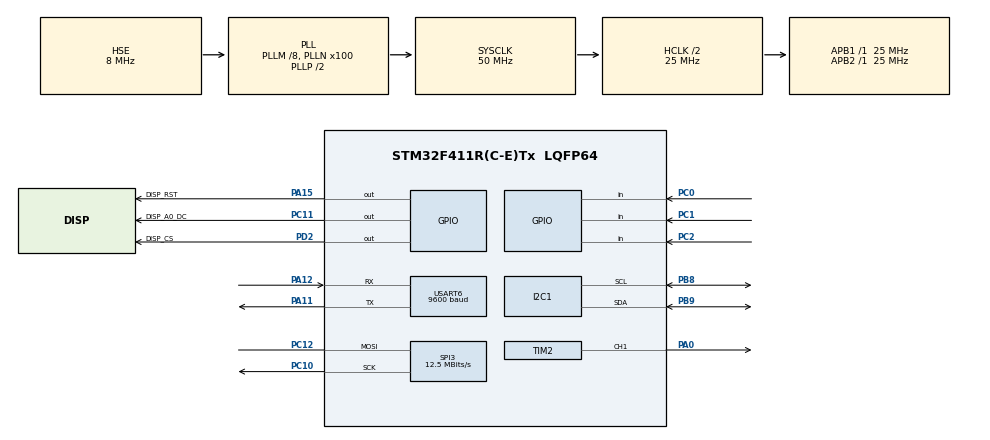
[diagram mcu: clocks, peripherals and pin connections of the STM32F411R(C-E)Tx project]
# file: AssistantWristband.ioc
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Mcu.Family=STM32F4
Mcu.Name=STM32F411R(C-E)Tx
Mcu.Package=LQFP64
NVIC.PriorityGroup=NVIC_PRIORITYGROUP_4
NVIC.TIM3_IRQn=true\:0\:0\:false\:false\:true\:true\:true
PA0-WKUP.Signal=S_TIM2_CH1_ETR
PA11.Mode=Asynchronous
PA11.Signal=USART6_TX
PA12.Mode=Asynchronous
PA12.Signal=USART6_RX
PA15.GPIO_Label=DISP_RST
PA15.Signal=GPIO_Output
PA7.Signal=S_TIM3_CH2
PB8.Mode=I2C
PB8.Signal=I2C1_SCL
PB9.Mode=I2C
PB9.Signal=I2C1_SDA
PC0.GPIO_PuPd=GPIO_PULLDOWN
PC0.Signal=GPIO_Input
PC1.GPIO_PuPd=GPIO_PULLDOWN
PC1.Signal=GPIO_Input
PC10.Mode=Simplex_Bidirectional_Master
PC10.Signal=SPI3_SCK
PC11.GPIO_Label=DISP_A0_DC
PC11.Signal=GPIO_Output
PC12.Mode=Simplex_Bidirectional_Master
PC12.Signal=SPI3_MOSI
PC2.GPIO_PuPd=GPIO_PULLDOWN
PC2.Signal=GPIO_Input
PD2.GPIO_Label=DISP_CS
PD2.Signal=GPIO_Output
PH0\ -\ OSC_IN.Mode=HSE-External-Oscillator
PH0\ -\ OSC_IN.Signal=RCC_OSC_IN
PH1\ -\ OSC_OUT.Mode=HSE-External-Oscillator
PH1\ -\ OSC_OUT.Signal=RCC_OSC_OUT
ProjectManager.HeapSize=0x200
ProjectManager.StackSize=0x400
ProjectManager.TargetToolchain=STM32CubeIDE
RCC.48MHZClocksFreq_Value=25000000
RCC.AHBCLKDivider=RCC_SYSCLK_DIV2
RCC.AHBFreq_Value=25000000
RCC.APB1Freq_Value=25000000
RCC.APB1TimFreq_Value=25000000
RCC.APB2Freq_Value=25000000
RCC.APB2TimFreq_Value=25000000
RCC.CortexFreq_Value=25000000
RCC.HCLKFreq_Value=25000000
RCC.HSE_VALUE=8000000
RCC.HSI_VALUE=16000000
RCC.LSE_VALUE=32768
RCC.PLLM=8
RCC.PLLN=100
RCC.PLLSourceVirtual=RCC_PLLSOURCE_HSE
RCC.SYSCLKFreq_VALUE=50000000
RCC.SYSCLKSource=RCC_SYSCLKSOURCE_PLLCLK
RCC.VCOOutputFreq_Value=100000000
SH.S_TIM2_CH1_ETR.0=TIM2_CH1,PWM Generation1 CH1
SH.S_TIM3_CH2.0=TIM3_CH2
SPI3.CalculateBaudRate=12.5 MBits/s
SPI3.Direction=SPI_DIRECTION_1LINE
SPI3.Mode=SPI_MODE_MASTER
SPI3.VirtualType=VM_MASTER
TIM2.Channel-PWM\ Generation1\ CH1=TIM_CHANNEL_1
TIM2.Period=255-1
TIM2.Prescaler=385-1
TIM3.Period=999
TIM3.Prescaler=25000
USART6.BaudRate=9600
USART6.Mode=MODE_TX
USART6.VirtualMode=VM_ASYNC
VP_TIM2_VS_ClockSourceINT.Mode=Internal
VP_TIM3_VS_ClockSourceINT.Mode=Internal
board=custom

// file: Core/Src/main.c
/* USER CODE BEGIN Header */
/**
  ******************************************************************************
  * @file           : main.c
  * @brief          : Main program body
  ******************************************************************************
  * @attention
  *
  * <h2><center>&copy; Copyright (c) 2020 STMicroelectronics.
  * All rights reserved.</center></h2>
  *
  * This software component is licensed by ST under BSD 3-Clause license,
  * the "License"; You may not use this file except in compliance with the
  * License. You may obtain a copy of the License at:
  *                        opensource.org/licenses/BSD-3-Clause
  *
  ******************************************************************************
  */
/* USER CODE END Header */

#include "main.h"

/* USER CODE BEGIN Includes */
#include "states/welcome_mode.h"
#include "states/calorie_mode.h"
#include "states/choose_mode.h"
#include "states/main_mode.h"
#include "states/step_mode.h"
#include "states/final_mode.h"
#include "queue.h"
/* USER CODE END Includes */

I2C_HandleTypeDef hi2c1;

SPI_HandleTypeDef hspi3;

TIM_HandleTypeDef htim2;
TIM_HandleTypeDef htim3;

UART_HandleTypeDef huart6;

void SystemClock_Config(void);
static void MX_GPIO_Init(void);
static void MX_I2C1_Init(void);
static void MX_USART6_UART_Init(void);
static void MX_SPI3_Init(void);
static void MX_TIM2_Init(void);
static void MX_TIM3_Init(void);

/* USER CODE BEGIN 0 */
state current_state = welcome_mode; // extern types of this global variable are defined under .c files
// since multiple header files including may result multiple definitions of current_state variable.
CalorieState calorie_state;
state mode_state;
uint32_t current_step = 0;
uint32_t step_num = 25;
uint32_t elapsed_time = 1;
Queue* window_acc_y;
uint32_t possible_step = 0;
uint8_t walk_permission = 1;
/* USER CODE END 0 */

int main(void)
{
  /* USER CODE BEGIN 1 */
	CalorieInfo person_cal_info;
	calorie_state = calorie_height_mode;
  /* USER CODE END 1 */

  /* MCU Configuration--------------------------------------------------------*/

  /* Reset of all peripherals, Initializes the Flash interface and the Systick. */
  HAL_Init();

  /* Configure the system clock */
  SystemClock_Config();

  /* Initialize all configured peripherals */
  MX_GPIO_Init();
  MX_I2C1_Init();
  MX_USART6_UART_Init();
  MX_SPI3_Init();
  MX_TIM2_Init();
  MX_TIM3_Init();
  /* USER CODE BEGIN 2 */
    HAL_TIM_Base_Start_IT(&htim3);
  	HAL_TIM_PWM_Start(&htim2, TIM_CHANNEL_1);
  	htim2.Instance->CCR1 = 0;
	// put all custom initialization functions here no matter which states they belong to
	ST7735_Init();
	mma8452qInit(&hi2c1);
	initCalorieMode(&person_cal_info);
	uint8_t send_weight_height_key = 0; // when equals 1, provides sending weight and height infos through bluetooth just once.
	window_acc_y = createQueue(5);
  /* USER CODE END 2 */

  /* Infinite loop */
  /* USER CODE BEGIN WHILE */
	while (1) {
		switch (current_state) {
			case welcome_mode:
				welcomeScreen();
				break;
			case choose_mode:
				chooseModeScreen();
				break;
			case step_mode:
				stepScreen(step_num);
				break;
			case calorie_mode:
				calorieScreen(&calorie_state, &person_cal_info);
				break;
			case main_mode:
				if (!send_weight_height_key) {
					char weight_height_info[50] = { 0 };
					sprintf(weight_height_info, " %d %d \r\n", person_cal_info.weight, person_cal_info.height);
					HAL_UART_Transmit(&huart6, (uint8_t *)weight_height_info, sizeof(weight_height_info), 100);
					++send_weight_height_key;
				}
				mainScreen(&person_cal_info);
				break;
			case final_mode:
				finalModeScreen(&person_cal_info);
				break;
		}
	}

    /* USER CODE END WHILE */

}

void SystemClock_Config(void)
{
  RCC_OscInitTypeDef RCC_OscInitStruct = {0};
  RCC_ClkInitTypeDef RCC_ClkInitStruct = {0};

  /** Configure the main internal regulator output voltage
  */
  __HAL_RCC_PWR_CLK_ENABLE();
  __HAL_PWR_VOLTAGESCALING_CONFIG(PWR_REGULATOR_VOLTAGE_SCALE1);
  /** Initializes the CPU, AHB and APB busses clocks
  */
  RCC_OscInitStruct.OscillatorType = RCC_OSCILLATORTYPE_HSE;
  RCC_OscInitStruct.HSEState = RCC_HSE_ON;
  RCC_OscInitStruct.PLL.PLLState = RCC_PLL_ON;
  RCC_OscInitStruct.PLL.PLLSource = RCC_PLLSOURCE_HSE;
  RCC_OscInitStruct.PLL.PLLM = 8;
  RCC_OscInitStruct.PLL.PLLN = 100;
  RCC_OscInitStruct.PLL.PLLP = RCC_PLLP_DIV2;
  RCC_OscInitStruct.PLL.PLLQ = 4;
  if (HAL_RCC_OscConfig(&RCC_OscInitStruct) != HAL_OK)
  {
    Error_Handler();
  }
  /** Initializes the CPU, AHB and APB busses clocks
  */
  RCC_ClkInitStruct.ClockType = RCC_CLOCKTYPE_HCLK|RCC_CLOCKTYPE_SYSCLK
                              |RCC_CLOCKTYPE_PCLK1|RCC_CLOCKTYPE_PCLK2;
  RCC_ClkInitStruct.SYSCLKSource = RCC_SYSCLKSOURCE_PLLCLK;
  RCC_ClkInitStruct.AHBCLKDivider = RCC_SYSCLK_DIV2;
  RCC_ClkInitStruct.APB1CLKDivider = RCC_HCLK_DIV1;
  RCC_ClkInitStruct.APB2CLKDivider = RCC_HCLK_DIV1;

  if (HAL_RCC_ClockConfig(&RCC_ClkInitStruct, FLASH_LATENCY_0) != HAL_OK)
  {
    Error_Handler();
  }
}

static void MX_I2C1_Init(void)
{

  hi2c1.Instance = I2C1;
  hi2c1.Init.ClockSpeed = 100000;
  hi2c1.Init.DutyCycle = I2C_DUTYCYCLE_2;
  hi2c1.Init.OwnAddress1 = 0;
  hi2c1.Init.AddressingMode = I2C_ADDRESSINGMODE_7BIT;
  hi2c1.Init.DualAddressMode = I2C_DUALADDRESS_DISABLE;
  hi2c1.Init.OwnAddress2 = 0;
  hi2c1.Init.GeneralCallMode = I2C_GENERALCALL_DISABLE;
  hi2c1.Init.NoStretchMode = I2C_NOSTRETCH_DISABLE;
  if (HAL_I2C_Init(&hi2c1) != HAL_OK)
  {
    Error_Handler();
  }

}

static void MX_SPI3_Init(void)
{

  /* SPI3 parameter configuration*/
  hspi3.Instance = SPI3;
  hspi3.Init.Mode = SPI_MODE_MASTER;
  hspi3.Init.Direction = SPI_DIRECTION_1LINE;
  hspi3.Init.DataSize = SPI_DATASIZE_8BIT;
  hspi3.Init.CLKPolarity = SPI_POLARITY_LOW;
  hspi3.Init.CLKPhase = SPI_PHASE_1EDGE;
  hspi3.Init.NSS = SPI_NSS_SOFT;
  hspi3.Init.BaudRatePrescaler = SPI_BAUDRATEPRESCALER_2;
  hspi3.Init.FirstBit = SPI_FIRSTBIT_MSB;
  hspi3.Init.TIMode = SPI_TIMODE_DISABLE;
  hspi3.Init.CRCCalculation = SPI_CRCCALCULATION_DISABLE;
  hspi3.Init.CRCPolynomial = 10;
  if (HAL_SPI_Init(&hspi3) != HAL_OK)
  {
    Error_Handler();
  }

}

static void MX_TIM2_Init(void)
{

  TIM_ClockConfigTypeDef sClockSourceConfig = {0};
  TIM_MasterConfigTypeDef sMasterConfig = {0};
  TIM_OC_InitTypeDef sConfigOC = {0};

  htim2.Instance = TIM2;
  htim2.Init.Prescaler = 385-1;
  htim2.Init.CounterMode = TIM_COUNTERMODE_UP;
  htim2.Init.Period = 255-1;
  htim2.Init.ClockDivision = TIM_CLOCKDIVISION_DIV1;
  htim2.Init.AutoReloadPreload = TIM_AUTORELOAD_PRELOAD_DISABLE;
  if (HAL_TIM_Base_Init(&htim2) != HAL_OK)
  {
    Error_Handler();
  }
  sClockSourceConfig.ClockSource = TIM_CLOCKSOURCE_INTERNAL;
  if (HAL_TIM_ConfigClockSource(&htim2, &sClockSourceConfig) != HAL_OK)
  {
    Error_Handler();
  }
  if (HAL_TIM_PWM_Init(&htim2) != HAL_OK)
  {
    Error_Handler();
  }
  sMasterConfig.MasterOutputTrigger = TIM_TRGO_RESET;
  sMasterConfig.MasterSlaveMode = TIM_MASTERSLAVEMODE_DISABLE;
  if (HAL_TIMEx_MasterConfigSynchronization(&htim2, &sMasterConfig) != HAL_OK)
  {
    Error_Handler();
  }
  sConfigOC.OCMode = TIM_OCMODE_PWM1;
  sConfigOC.Pulse = 0;
  sConfigOC.OCPolarity = TIM_OCPOLARITY_HIGH;
  sConfigOC.OCFastMode = TIM_OCFAST_DISABLE;
  if (HAL_TIM_PWM_ConfigChannel(&htim2, &sConfigOC, TIM_CHANNEL_1) != HAL_OK)
  {
    Error_Handler();
  }
  HAL_TIM_MspPostInit(&htim2);

}

static void MX_TIM3_Init(void)
{

  TIM_ClockConfigTypeDef sClockSourceConfig = {0};
  TIM_MasterConfigTypeDef sMasterConfig = {0};

  htim3.Instance = TIM3;
  htim3.Init.Prescaler = 25000;
  htim3.Init.CounterMode = TIM_COUNTERMODE_UP;
  htim3.Init.Period = 999;
  htim3.Init.ClockDivision = TIM_CLOCKDIVISION_DIV1;
  htim3.Init.AutoReloadPreload = TIM_AUTORELOAD_PRELOAD_DISABLE;
  if (HAL_TIM_Base_Init(&htim3) != HAL_OK)
  {
    Error_Handler();
  }
  sClockSourceConfig.ClockSource = TIM_CLOCKSOURCE_INTERNAL;
  if (HAL_TIM_ConfigClockSource(&htim3, &sClockSourceConfig) != HAL_OK)
  {
    Error_Handler();
  }
  sMasterConfig.MasterOutputTrigger = TIM_TRGO_RESET;
  sMasterConfig.MasterSlaveMode = TIM_MASTERSLAVEMODE_DISABLE;
  if (HAL_TIMEx_MasterConfigSynchronization(&htim3, &sMasterConfig) != HAL_OK)
  {
    Error_Handler();
  }

}

static void MX_USART6_UART_Init(void)
{

  huart6.Instance = USART6;
  huart6.Init.BaudRate = 9600;
  huart6.Init.WordLength = UART_WORDLENGTH_8B;
  huart6.Init.StopBits = UART_STOPBITS_1;
  huart6.Init.Parity = UART_PARITY_NONE;
  huart6.Init.Mode = UART_MODE_TX;
  huart6.Init.HwFlowCtl = UART_HWCONTROL_NONE;
  huart6.Init.OverSampling = UART_OVERSAMPLING_16;
  if (HAL_UART_Init(&huart6) != HAL_OK)
  {
    Error_Handler();
  }

}

static void MX_GPIO_Init(void)
{
  GPIO_InitTypeDef GPIO_InitStruct = {0};

  /* GPIO Ports Clock Enable */
  __HAL_RCC_GPIOH_CLK_ENABLE();
  __HAL_RCC_GPIOC_CLK_ENABLE();
  __HAL_RCC_GPIOA_CLK_ENABLE();
  __HAL_RCC_GPIOD_CLK_ENABLE();
  __HAL_RCC_GPIOB_CLK_ENABLE();

  /*Configure GPIO pin Output Level */
  HAL_GPIO_WritePin(DISP_RST_GPIO_Port, DISP_RST_Pin, GPIO_PIN_RESET);

  /*Configure GPIO pin Output Level */
  HAL_GPIO_WritePin(DISP_A0_DC_GPIO_Port, DISP_A0_DC_Pin, GPIO_PIN_RESET);

  /*Configure GPIO pin Output Level */
  HAL_GPIO_WritePin(DISP_CS_GPIO_Port, DISP_CS_Pin, GPIO_PIN_RESET);

  /*Configure GPIO pins : PC0 PC1 PC2 */
  GPIO_InitStruct.Pin = GPIO_PIN_0|GPIO_PIN_1|GPIO_PIN_2;
  GPIO_InitStruct.Mode = GPIO_MODE_INPUT;
  GPIO_InitStruct.Pull = GPIO_PULLDOWN;
  HAL_GPIO_Init(GPIOC, &GPIO_InitStruct);

  /*Configure GPIO pin : DISP_RST_Pin */
  GPIO_InitStruct.Pin = DISP_RST_Pin;
  GPIO_InitStruct.Mode = GPIO_MODE_OUTPUT_PP;
  GPIO_InitStruct.Pull = GPIO_NOPULL;
  GPIO_InitStruct.Speed = GPIO_SPEED_FREQ_LOW;
  HAL_GPIO_Init(DISP_RST_GPIO_Port, &GPIO_InitStruct);

  /*Configure GPIO pin : DISP_A0_DC_Pin */
  GPIO_InitStruct.Pin = DISP_A0_DC_Pin;
  GPIO_InitStruct.Mode = GPIO_MODE_OUTPUT_PP;
  GPIO_InitStruct.Pull = GPIO_NOPULL;
  GPIO_InitStruct.Speed = GPIO_SPEED_FREQ_LOW;
  HAL_GPIO_Init(DISP_A0_DC_GPIO_Port, &GPIO_InitStruct);

  /*Configure GPIO pin : DISP_CS_Pin */
  GPIO_InitStruct.Pin = DISP_CS_Pin;
  GPIO_InitStruct.Mode = GPIO_MODE_OUTPUT_PP;
  GPIO_InitStruct.Pull = GPIO_NOPULL;
  GPIO_InitStruct.Speed = GPIO_SPEED_FREQ_LOW;
  HAL_GPIO_Init(DISP_CS_GPIO_Port, &GPIO_InitStruct);

}

void Error_Handler(void)
{
}

/************************ (C) COPYRIGHT STMicroelectronics *****END OF FILE****/
